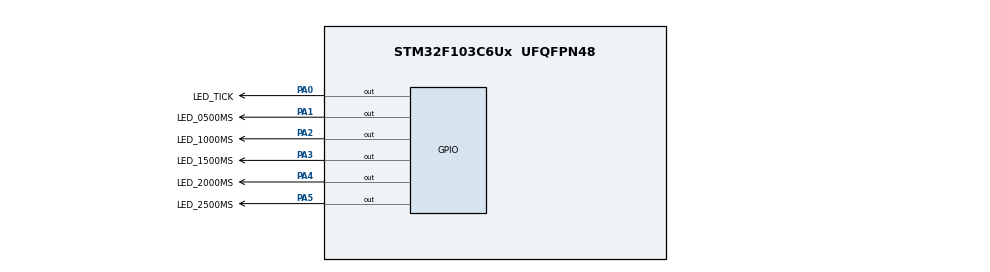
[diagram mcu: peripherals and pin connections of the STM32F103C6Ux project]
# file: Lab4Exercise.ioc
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Mcu.Family=STM32F1
Mcu.Name=STM32F103C6Ux
Mcu.Package=UFQFPN48
NVIC.PriorityGroup=NVIC_PRIORITYGROUP_4
NVIC.TIM2_IRQn=true\:0\:0\:false\:false\:true\:true\:true
PA0-WKUP.GPIO_Label=LED_TICK
PA0-WKUP.Signal=GPIO_Output
PA1.GPIO_Label=LED_0500MS
PA1.Signal=GPIO_Output
PA2.GPIO_Label=LED_1000MS
PA2.Signal=GPIO_Output
PA3.GPIO_Label=LED_1500MS
PA3.Signal=GPIO_Output
PA4.GPIO_Label=LED_2000MS
PA4.Signal=GPIO_Output
PA5.GPIO_Label=LED_2500MS
PA5.Signal=GPIO_Output
ProjectManager.HeapSize=0x200
ProjectManager.StackSize=0x400
ProjectManager.TargetToolchain=STM32CubeIDE
RCC.APB1Freq_Value=8000000
RCC.APB2Freq_Value=8000000
TIM2.Period=9
TIM2.Prescaler=7999
VP_SYS_VS_ND.Mode=No_Debug
VP_TIM2_VS_ClockSourceINT.Mode=Internal
board=custom

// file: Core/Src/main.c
/* USER CODE BEGIN Header */
/**
  ******************************************************************************
  * @file           : main.c
  * @brief          : Main program body
  ******************************************************************************
  * @attention
  *
  * <h2><center>&copy; Copyright (c) 2025 STMicroelectronics.
  * All rights reserved.</center></h2>
  *
  * This software component is licensed by ST under BSD 3-Clause license,
  * the "License"; You may not use this file except in compliance with the
  * License. You may obtain a copy of the License at:
  *                        opensource.org/licenses/BSD-3-Clause
  *
  ******************************************************************************
  */
/* USER CODE END Header */
#include "main.h"

/* USER CODE BEGIN Includes */
#include "scheduler.h"
/* USER CODE END Includes */

TIM_HandleTypeDef htim2;

void SystemClock_Config(void);
static void MX_TIM2_Init(void);
static void MX_GPIO_Init(void);

/* USER CODE BEGIN 0 */

// INTERRUPT CALLBACK
void HAL_TIM_PeriodElapsedCallback(TIM_HandleTypeDef *htim)
{
	if(htim->Instance == TIM2)
	{
		SCH_Update();
	}

};

//  5 tasks running periodically in 0.5 second, 1 second, 1.5 seconds, 2 seconds, 2.5 seconds.
void task_0500ms()
{
	HAL_GPIO_TogglePin(LED_0500MS_GPIO_Port, LED_0500MS_Pin);
};

void task_1000ms()
{
	HAL_GPIO_TogglePin(LED_1000MS_GPIO_Port, LED_1000MS_Pin);
};

void task_1500ms()
{
	HAL_GPIO_TogglePin(LED_1500MS_GPIO_Port, LED_1500MS_Pin);
};

void task_2000ms()
{
	HAL_GPIO_TogglePin(LED_2000MS_GPIO_Port, LED_2000MS_Pin);
};

void task_2500ms()
{
	HAL_GPIO_TogglePin(LED_2500MS_GPIO_Port, LED_2500MS_Pin);
};

/* USER CODE END 0 */

int main(void)
{

  /* MCU Configuration--------------------------------------------------------*/

  /* Reset of all peripherals, Initializes the Flash interface and the Systick. */
  HAL_Init();

  /* Configure the system clock */
  SystemClock_Config();

  /* Initialize all configured peripherals */
  MX_TIM2_Init();
  MX_GPIO_Init();

  /* Infinite loop */
  /* USER CODE BEGIN WHILE */

  // TIM2
  HAL_TIM_Base_Start_IT(&htim2);

  // ADD TASK
  SCH_Add_Task(task_0500ms, 0, 050); // Period = 10ms *	 50 ticks =  500ms
  SCH_Add_Task(task_1000ms, 1, 100); // Period = 10ms *	100 ticks = 1000ms
  SCH_Add_Task(task_1500ms, 2, 150); // Period = 10ms *	150 ticks = 1500ms
  SCH_Add_Task(task_2000ms, 3, 200); // Period = 10ms *	200 ticks = 2000ms
  SCH_Add_Task(task_2500ms, 4, 250); // Period = 10ms *	250 ticks = 2500ms

  while (1)
  {
    /* USER CODE END WHILE */

    /* USER CODE BEGIN 3 */

	  SCH_Dispatch_Tasks();
  }
  /* USER CODE END 3 */
}

void SystemClock_Config(void)
{
  RCC_OscInitTypeDef RCC_OscInitStruct = {0};
  RCC_ClkInitTypeDef RCC_ClkInitStruct = {0};

  /** Initializes the RCC Oscillators according to the specified parameters
  * in the RCC_OscInitTypeDef structure.
  */
  RCC_OscInitStruct.OscillatorType = RCC_OSCILLATORTYPE_HSI;
  RCC_OscInitStruct.HSIState = RCC_HSI_ON;
  RCC_OscInitStruct.HSICalibrationValue = RCC_HSICALIBRATION_DEFAULT;
  RCC_OscInitStruct.PLL.PLLState = RCC_PLL_NONE;
  if (HAL_RCC_OscConfig(&RCC_OscInitStruct) != HAL_OK)
  {
    Error_Handler();
  }
  /** Initializes the CPU, AHB and APB buses clocks
  */
  RCC_ClkInitStruct.ClockType = RCC_CLOCKTYPE_HCLK|RCC_CLOCKTYPE_SYSCLK
                              |RCC_CLOCKTYPE_PCLK1|RCC_CLOCKTYPE_PCLK2;
  RCC_ClkInitStruct.SYSCLKSource = RCC_SYSCLKSOURCE_HSI;
  RCC_ClkInitStruct.AHBCLKDivider = RCC_SYSCLK_DIV1;
  RCC_ClkInitStruct.APB1CLKDivider = RCC_HCLK_DIV1;
  RCC_ClkInitStruct.APB2CLKDivider = RCC_HCLK_DIV1;

  if (HAL_RCC_ClockConfig(&RCC_ClkInitStruct, FLASH_LATENCY_0) != HAL_OK)
  {
    Error_Handler();
  }
}

static void MX_TIM2_Init(void)
{

  TIM_ClockConfigTypeDef sClockSourceConfig = {0};
  TIM_MasterConfigTypeDef sMasterConfig = {0};

  htim2.Instance = TIM2;
  htim2.Init.Prescaler = 7999;
  htim2.Init.CounterMode = TIM_COUNTERMODE_UP;
  htim2.Init.Period = 9;
  htim2.Init.ClockDivision = TIM_CLOCKDIVISION_DIV1;
  htim2.Init.AutoReloadPreload = TIM_AUTORELOAD_PRELOAD_DISABLE;
  if (HAL_TIM_Base_Init(&htim2) != HAL_OK)
  {
    Error_Handler();
  }
  sClockSourceConfig.ClockSource = TIM_CLOCKSOURCE_INTERNAL;
  if (HAL_TIM_ConfigClockSource(&htim2, &sClockSourceConfig) != HAL_OK)
  {
    Error_Handler();
  }
  sMasterConfig.MasterOutputTrigger = TIM_TRGO_RESET;
  sMasterConfig.MasterSlaveMode = TIM_MASTERSLAVEMODE_DISABLE;
  if (HAL_TIMEx_MasterConfigSynchronization(&htim2, &sMasterConfig) != HAL_OK)
  {
    Error_Handler();
  }

}

static void MX_GPIO_Init(void)
{
  GPIO_InitTypeDef GPIO_InitStruct = {0};

  /* GPIO Ports Clock Enable */
  __HAL_RCC_GPIOA_CLK_ENABLE();

  /*Configure GPIO pin Output Level */
  HAL_GPIO_WritePin(GPIOA, LED_TICK_Pin|LED_0500MS_Pin|LED_1000MS_Pin|LED_1500MS_Pin
                          |LED_2000MS_Pin|LED_2500MS_Pin, GPIO_PIN_RESET);

  /*Configure GPIO pins : LED_TICK_Pin LED_0500MS_Pin LED_1000MS_Pin LED_1500MS_Pin
                           LED_2000MS_Pin LED_2500MS_Pin */
  GPIO_InitStruct.Pin = LED_TICK_Pin|LED_0500MS_Pin|LED_1000MS_Pin|LED_1500MS_Pin
                          |LED_2000MS_Pin|LED_2500MS_Pin;
  GPIO_InitStruct.Mode = GPIO_MODE_OUTPUT_PP;
  GPIO_InitStruct.Pull = GPIO_NOPULL;
  GPIO_InitStruct.Speed = GPIO_SPEED_FREQ_LOW;
  HAL_GPIO_Init(GPIOA, &GPIO_InitStruct);

}

void Error_Handler(void)
{
  __disable_irq();
  while (1)
  {
  }
}

/************************ (C) COPYRIGHT STMicroelectronics *****END OF FILE****/
